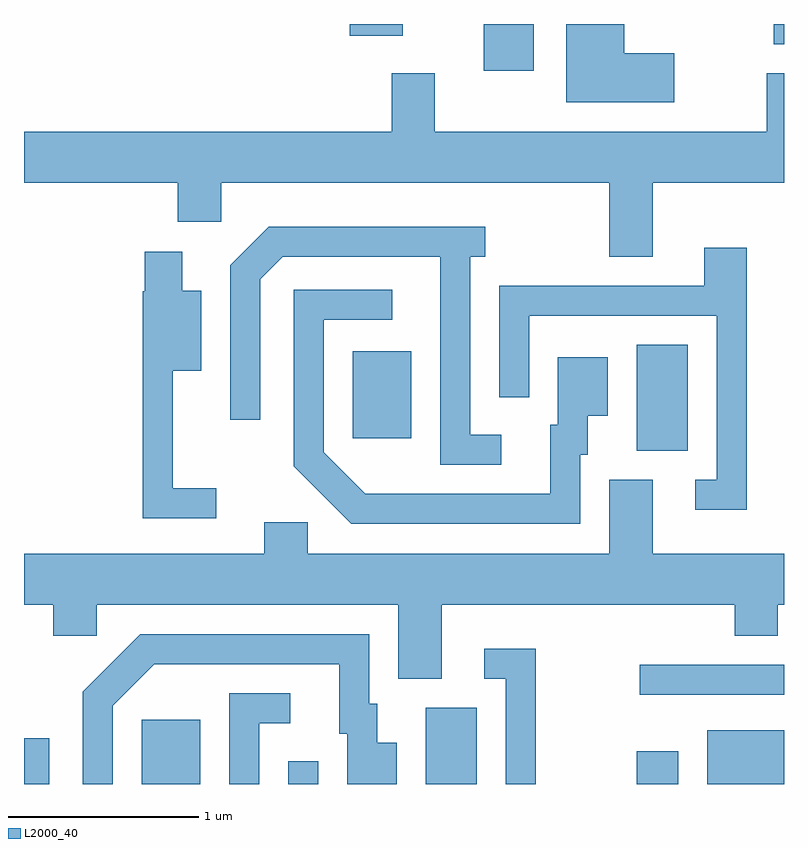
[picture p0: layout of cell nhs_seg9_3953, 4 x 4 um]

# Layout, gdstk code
import gdstk
lib = gdstk.Library(unit=1e-6, precision=1e-09)
def R(c, l, rs):  # rectangles x0, y0, x1, y1
    for r in rs: c.add(gdstk.rectangle(r[:2], r[2:], *l))
def P(c, l, *ps):  # polygons
    for p in ps: c.add(gdstk.Polygon(p, *l))
L2000_40 = (2000, 40)

nhs_seg9_3953 = lib.new_cell('nhs_seg9_3953')
R(nhs_seg9_3953, L2000_40, [(301.611,1986.432,301.744,1986.673), (302.231,1986.432,302.539,1986.769), (303.001,1986.432,303.159,1986.553), (303.726,1986.432,303.994,1986.834), (304.836,1986.432,305.054,1986.604), (305.206,1986.432,305.611,1986.714), (304.853,1986.901,305.611,1987.059), (304.836,1988.186,305.104,1988.744), (303.341,1988.251,303.649,1988.709), (304.031,1990.186,304.294,1990.432), (305.556,1990.326,305.611,1990.432), (303.326,1990.371,303.604,1990.432)])
P(nhs_seg9_3953, L2000_40, [(305.034,1990.279),(304.769,1990.279),(304.769,1990.432),(304.466,1990.432),(304.466,1990.021),(305.034,1990.021)],
  [(304.919,1989.596),(305.611,1989.596),(305.611,1990.174),(305.521,1990.174),(305.521,1989.864),(303.774,1989.864),(303.774,1990.174),(303.546,1990.174),(303.546,1989.864),(301.611,1989.864),(301.611,1989.596),(302.421,1989.596),(302.421,1989.391),(302.649,1989.391),(302.649,1989.596),(304.691,1989.596),(304.691,1989.206),(304.919,1989.206)],
  [(304.123,1988.269),(303.959,1988.269),(303.959,1989.206),(304.038,1989.206),(304.038,1989.364),(302.899,1989.364),(302.696,1989.162),(302.696,1988.348),(302.854,1988.348),(302.854,1989.089),(302.972,1989.206),(303.801,1989.206),(303.801,1988.111),(304.123,1988.111)],
  [(305.414,1989.254),(305.191,1989.254),(305.191,1989.054),(304.111,1989.054),(304.111,1988.468),(304.269,1988.468),(304.269,1988.896),(305.256,1988.896),(305.256,1988.034),(305.143,1988.034),(305.143,1987.876),(305.414,1987.876)],
  [(302.623,1987.989),(302.394,1987.989),(302.394,1988.606),(302.544,1988.606),(302.544,1989.029),(302.444,1989.029),(302.444,1989.234),(302.246,1989.234),(302.246,1989.025),(302.236,1989.025),(302.236,1987.831),(302.623,1987.831)],
  [(304.539,1988.166),(304.579,1988.166),(304.579,1988.371),(304.684,1988.371),(304.684,1988.679),(304.421,1988.679),(304.421,1988.324),(304.381,1988.324),(304.381,1987.959),(303.407,1987.959),(303.189,1988.177),(303.189,1988.876),(303.548,1988.876),(303.548,1989.034),(303.031,1989.034),(303.031,1988.104),(303.334,1987.801),(304.539,1987.801)],
  [(303.809,1987.376),(305.351,1987.376),(305.351,1987.211),(305.579,1987.211),(305.579,1987.376),(305.611,1987.376),(305.611,1987.644),(304.919,1987.644),(304.919,1988.034),(304.691,1988.034),(304.691,1987.644),(303.104,1987.644),(303.104,1987.809),(302.876,1987.809),(302.876,1987.644),(301.611,1987.644),(301.611,1987.376),(301.766,1987.376),(301.766,1987.211),(301.994,1987.211),(301.994,1987.376),(303.581,1987.376),(303.581,1986.986),(303.809,1986.986)],
  [(302.079,1986.844),(302.297,1987.061),(303.271,1987.061),(303.271,1986.696),(303.311,1986.696),(303.311,1986.432),(303.574,1986.432),(303.574,1986.649),(303.469,1986.649),(303.469,1986.854),(303.429,1986.854),(303.429,1987.219),(302.224,1987.219),(301.921,1986.917),(301.921,1986.432),(302.079,1986.432)],
  [(304.304,1987.144),(304.033,1987.144),(304.033,1986.986),(304.146,1986.986),(304.146,1986.432),(304.304,1986.432)],
  [(302.849,1986.751),(303.013,1986.751),(303.013,1986.909),(302.691,1986.909),(302.691,1986.432),(302.849,1986.432)])

lib.write_gds('nhs_seg9_3953.gds')
